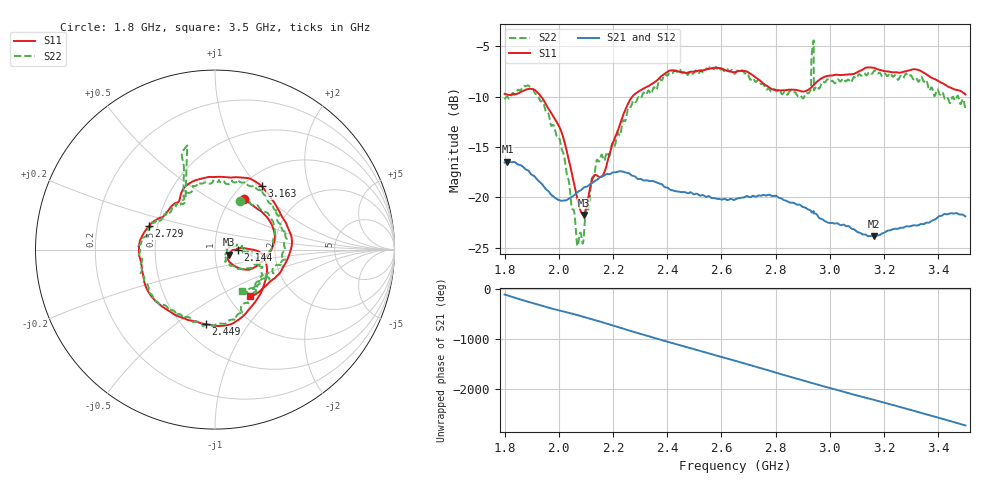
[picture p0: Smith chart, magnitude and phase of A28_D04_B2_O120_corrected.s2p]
! Created with skrf 1.9.0 (http://scikit-rf.org).
# Hz S RI R 50.0
!freq ReS11 ImS11 ReS21 ImS21 ReS12 ImS12 ReS22 ImS22
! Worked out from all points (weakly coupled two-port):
!   1601 points, 1.8 GHz to 3.5 GHz, reference 50 ohm
!   highest |S21| = -16.47 dB at 1.811 GHz (marker M1); lowest = -23.9 dB at 3.161 GHz (marker M2)
!   lowest |S11| = -21.8 dB at 2.091 GHz (marker M3), VSWR 1.18, Z = 58.2 - j3.28 ohm
!   |S11| at or under -10 dB: 1.935 GHz to 2.271 GHz (336.2 MHz wide, 16 % of centre)
!   |S22| runs from -24.9 to -4.4 dB; largest |S21 - S12| = 0.0023
!   S11 on the Smith chart (normalised r, x): 1.8 GHz: 1.14, +0.72; 2.144 GHz: 1.29, -0.00; 2.449 GHz: 0.65, -0.65; 2.729 GHz: 0.45, +0.14; 3.163 GHz: 1.20, +1.05; 3.5 GHz: 1.25, -0.72
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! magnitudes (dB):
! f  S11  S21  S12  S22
! 1.8 GHz  -9.7  -16.6  -16.6  -10.3
! 1.811 GHz  -9.8  -16.5  -16.5  -10.0
! 1.884 GHz  -9.3  -17.3  -17.3  -8.9
! 1.941 GHz  -10.2  -18.8  -18.8  -10.5
! 2.011 GHz  -13.6  -20.3  -20.3  -15.3
! 2.067 GHz  -19.9  -19.5  -19.5  -24.6
! 2.084 GHz  -21.6  -19.3  -19.2  -23.9
! 2.091 GHz  -21.8  -19.1  -19.1  -24.3
! 2.144 GHz  -17.9  -18.2  -18.2  -16.3
! 2.264 GHz  -10.3  -17.7  -17.7  -11.0
! 2.367 GHz  -8.3  -18.6  -18.6  -8.6
! 2.449 GHz  -7.6  -19.5  -19.5  -7.4
! 2.65 GHz  -7.6  -20.2  -20.2  -7.7
! 2.729 GHz  -8.1  -19.9  -20.0  -8.5
! 2.9 GHz  -9.5  -21.0  -21.0  -10.2
! 2.922 GHz  -9.3  -21.2  -21.2  -9.7
! 2.934 GHz  -9.0  -21.5  -21.5  -5.6
! 2.95 GHz  -8.6  -21.7  -21.7  -9.0
! 3.161 GHz  -7.1  -23.9  -23.8  -7.5
! 3.163 GHz  -7.1  -23.9  -23.8  -7.4
! 3.217 GHz  -7.5  -23.3  -23.3  -7.8
! 3.5 GHz  -9.8  -21.9  -21.9  -11.3
